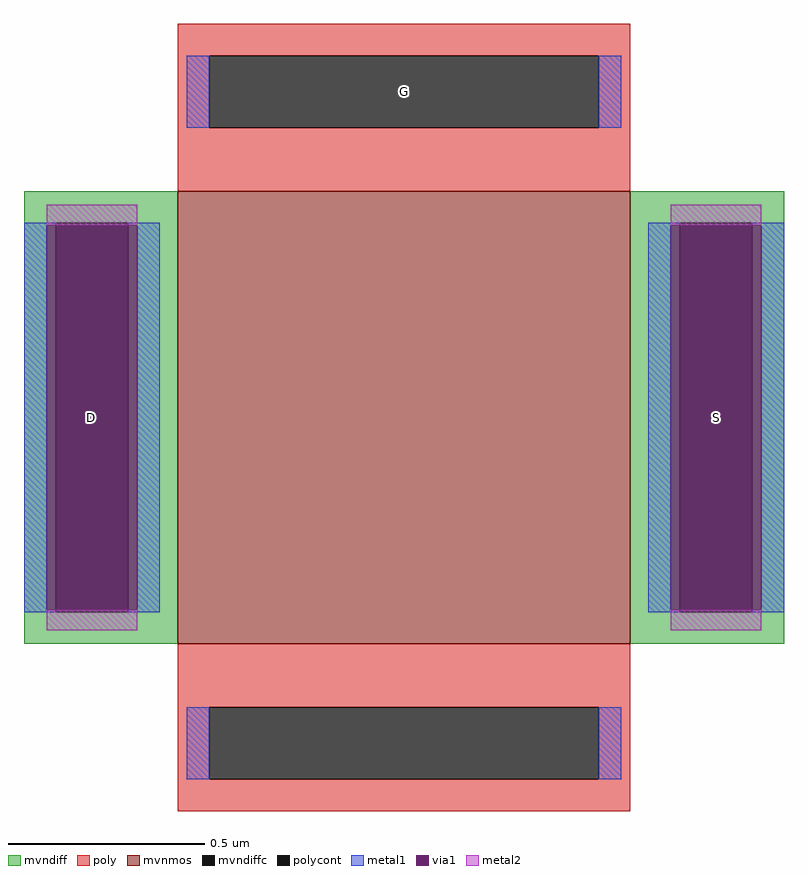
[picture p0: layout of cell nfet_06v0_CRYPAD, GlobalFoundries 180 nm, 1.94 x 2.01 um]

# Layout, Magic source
magic
tech gf180mcuD
magscale 3 26
<< mvnmos >>
rect -100 -100 100 100
<< mvndiff >>
rect -168 86 -100 100
rect -168 -86 -154 86
rect -122 -86 -100 86
rect -168 -100 -100 -86
rect 100 86 168 100
rect 100 -86 122 86
rect 154 -86 168 86
rect 100 -100 168 -86
<< mvndiffc >>
rect -154 -86 -122 86
rect 122 -86 154 86
<< poly >>
rect -100 160 100 174
rect -100 128 -86 160
rect 86 128 100 160
rect -100 100 100 128
rect -100 -128 100 -100
rect -100 -160 -86 -128
rect 86 -160 100 -128
rect -100 -174 100 -160
<< polycont >>
rect -86 128 86 160
rect -86 -160 86 -128
<< metal1 >>
rect -96 128 -86 160
rect 86 128 96 160
rect -168 85 -154 86
rect -122 85 -108 86
rect -168 -85 -158 85
rect -118 -85 -108 85
rect -168 -86 -154 -85
rect -122 -86 -108 -85
rect 108 85 122 86
rect 154 85 168 86
rect 108 -85 118 85
rect 158 -85 168 85
rect 108 -86 122 -85
rect 154 -86 168 -85
rect -96 -160 -86 -128
rect 86 -160 96 -128
<< via1 >>
rect -158 -85 -154 85
rect -154 -85 -122 85
rect -122 -85 -118 85
rect 118 -85 122 85
rect 122 -85 154 85
rect 154 -85 158 85
<< metal2 >>
rect -158 85 -118 94
rect -158 -94 -118 -85
rect 118 85 158 94
rect 118 -94 158 -85
<< labels >>
rlabel mvndiffc -138 0 -138 0 0 D
port 1 nsew
rlabel mvndiffc 138 0 138 0 0 S
port 2 nsew
rlabel polycont 0 144 0 144 0 G
port 3 nsew
<< properties >>
string gencell nfet_05v0
string library gf180mcu
string parameters w 1.0 l 1.0 m 1 ng 1 diffcov 100 polycov 100 guard 0 glc 1 grc 1 gtc 1 gbc 1 tbcov 100 rlcov 100 topc 1 botc 1 poverlap 0 doverlap 1 lmin 0.45 wmin 0.15 class mosfet compatible {nfet_05v0 nfet_06v0} full_metal 1 conn_gates 0 gate_ring 0 doports 1 viasrc 100 viadrn 100 viagate 0 ccols 1 viagb 0 viagr 0 viagl 0 viagt 0
<< end >>
